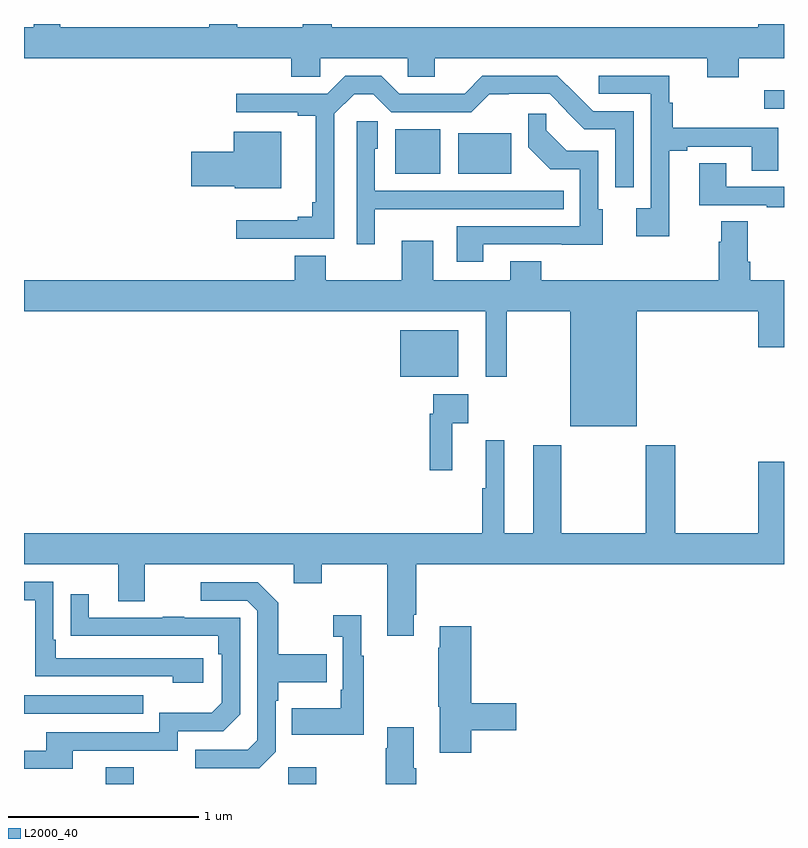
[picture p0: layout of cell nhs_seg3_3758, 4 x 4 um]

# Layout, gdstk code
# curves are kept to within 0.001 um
import gdstk
lib = gdstk.Library(unit=1e-6, precision=1e-09)
def R(c, l, rs):  # rectangles x0, y0, x1, y1
    for r in rs: c.add(gdstk.rectangle(r[:2], r[2:], *l))
def P(c, l, *ps):  # polygons
    for p in ps: c.add(gdstk.Polygon(p, *l))
L2000_40 = (2000, 40)

nhs_seg3_3758 = lib.new_cell('nhs_seg3_3758')
R(nhs_seg3_3758, L2000_40, [(305.429,726.4,305.577,726.487), (306.39,726.4,306.537,726.487), (305,726.771,305.627,726.867), (306.98,728.543,307.285,728.788), (306.953,729.611,307.192,729.847), (307.286,729.611,307.564,729.826), (308.895,729.954,309,730.051)])
P(nhs_seg3_3758, L2000_40, [(308.761,730.22),(309,730.22),(309,730.4),(308.864,730.4),(308.864,730.384),(306.62,730.384),(306.62,730.4),(306.467,730.4),(306.467,730.384),(306.123,730.384),(306.123,730.4),(305.975,730.4),(305.975,730.384),(305.191,730.384),(305.191,730.4),(305.051,730.4),(305.051,730.384),(305,730.384),(305,730.22),(306.407,730.22),(306.407,730.122),(306.558,730.122),(306.558,730.22),(307.02,730.22),(307.02,730.122),(307.162,730.122),(307.162,730.22),(308.597,730.22),(308.597,730.121),(308.761,730.121)],
  [(306.329,729.27),(306.633,729.27),(306.633,729.927),(306.737,730.031),(306.838,730.031),(306.933,729.936),(307.353,729.936),(307.448,730.031),(307.767,730.032),(307.857,729.942),(307.855,729.94),(307.949,729.846),(308.112,729.846),(308.112,729.54),(308.208,729.54),(308.208,729.942),(307.995,729.942),(307.807,730.128),(307.413,730.128),(307.319,730.034),(307.214,730.034),(307.214,730.032),(306.975,730.032),(306.879,730.128),(306.692,730.128),(306.596,730.032),(306.363,730.032),(306.363,730.034),(306.117,730.034),(306.117,729.936),(306.44,729.936),(306.44,729.916),(306.536,729.916),(306.536,729.463),(306.517,729.463),(306.517,729.386),(306.44,729.386),(306.44,729.367),(306.117,729.367),(306.117,729.269)],
  [(308.395,729.733),(308.491,729.733),(308.491,729.753),(308.831,729.753),(308.831,729.628),(308.971,729.628),(308.971,729.854),(308.414,729.854),(308.414,729.986),(308.396,729.986),(308.396,730.128),(308.025,730.128),(308.025,730.032),(308.298,730.032),(308.298,729.43),(308.223,729.43),(308.223,729.282),(308.395,729.282)],
  [(307.417,729.24),(308.047,729.239),(308.047,729.426),(308.022,729.426),(308.022,729.732),(307.856,729.732),(307.748,729.84),(307.748,729.928),(307.653,729.928),(307.653,729.752),(307.769,729.636),(307.926,729.636),(307.926,729.336),(307.277,729.336),(307.277,729.15),(307.417,729.15)],
  [(306.847,729.425),(307.181,729.425),(307.181,729.426),(307.841,729.426),(307.841,729.522),(306.846,729.522),(306.846,729.744),(306.862,729.744),(306.862,729.887),(306.75,729.887),(306.75,729.24),(306.847,729.24)],
  [(306.355,729.832),(306.104,729.832),(306.104,729.728),(305.88,729.728),(305.88,729.545),(306.108,729.545),(306.108,729.536),(306.355,729.536)],
  [(309,729.543),(308.695,729.543),(308.695,729.668),(308.555,729.668),(308.555,729.447),(308.909,729.447),(308.909,729.435),(309,729.435)],
  [(308.224,728.888),(308.864,728.888),(308.864,728.7),(309,728.7),(309,729.052),(308.822,729.052),(308.822,729.148),(308.809,729.148),(308.809,729.362),(308.669,729.362),(308.669,729.254),(308.657,729.254),(308.657,729.052),(307.723,729.052),(307.723,729.151),(307.559,729.151),(307.559,729.052),(307.153,729.052),(307.153,729.259),(306.989,729.259),(306.989,729.052),(306.589,729.052),(306.589,729.181),(306.425,729.181),(306.425,729.052),(305,729.052),(305,728.888),(307.43,728.888),(307.43,728.544),(307.54,728.544),(307.54,728.888),(307.874,728.888),(307.874,728.282),(308.224,728.282)],
  [(307.253,728.3),(307.339,728.3),(307.339,728.452),(307.155,728.452),(307.155,728.348),(307.135,728.348),(307.135,728.052),(307.253,728.052)],
  [(307.051,727.291),(307.064,727.291),(307.064,727.556),(309,727.556),(309,728.095),(308.864,728.095),(308.864,727.72),(308.427,727.72),(308.427,728.182),(308.272,728.182),(308.272,727.72),(307.827,727.72),(307.827,728.182),(307.679,728.182),(307.679,727.72),(307.528,727.72),(307.528,728.209),(307.43,728.209),(307.43,727.956),(307.411,727.956),(307.411,727.72),(305,727.72),(305,727.556),(305.495,727.556),(305.495,727.362),(305.635,727.362),(305.635,727.556),(306.419,727.556),(306.419,727.457),(306.567,727.457),(306.567,727.556),(306.911,727.556),(306.911,727.179),(307.051,727.179)],
  [(305.944,727.062),(305.167,727.062),(305.167,727.159),(305.154,727.159),(305.154,727.464),(305,727.464),(305,727.368),(305.058,727.368),(305.058,726.966),(305.783,726.966),(305.783,726.932),(305.944,726.932)],
  [(306.324,726.57),(306.324,726.839),(306.337,726.839),(306.337,726.935),(306.593,726.935),(306.593,727.083),(306.337,727.083),(306.337,727.355),(306.231,727.461),(305.931,727.461),(305.931,727.365),(306.174,727.365),(306.228,727.311),(306.228,726.63),(306.177,726.579),(305.901,726.579),(305.901,726.483),(306.237,726.483)],
  [(305.257,726.576),(305.808,726.576),(305.808,726.678),(306.048,726.678),(306.138,726.768),(306.138,727.275),(305.843,727.275),(305.843,727.28),(305.731,727.28),(305.731,727.275),(305.341,727.275),(305.341,727.399),(305.245,727.399),(305.245,727.18),(306.022,727.179),(306.022,727.082),(306.042,727.082),(306.042,726.828),(305.989,726.775),(305.712,726.775),(305.712,726.672),(305.117,726.672),(305.117,726.576),(305,726.576),(305,726.48),(305.257,726.48)],
  [(306.787,727.075),(306.775,727.075),(306.775,727.288),(306.627,727.288),(306.627,727.175),(306.678,727.175),(306.678,726.895),(306.666,726.895),(306.666,726.799),(306.409,726.799),(306.409,726.659),(306.787,726.659)],
  [(307.355,726.682),(307.591,726.682),(307.591,726.824),(307.355,726.824),(307.355,727.231),(307.187,727.231),(307.187,727.118),(307.18,727.118),(307.18,726.807),(307.187,726.807),(307.187,726.564),(307.355,726.564)],
  [(307.064,726.484),(307.051,726.484),(307.051,726.7),(306.911,726.7),(306.911,726.587),(306.904,726.587),(306.904,726.4),(307.064,726.4)])

lib.write_gds('nhs_seg3_3758.gds')
